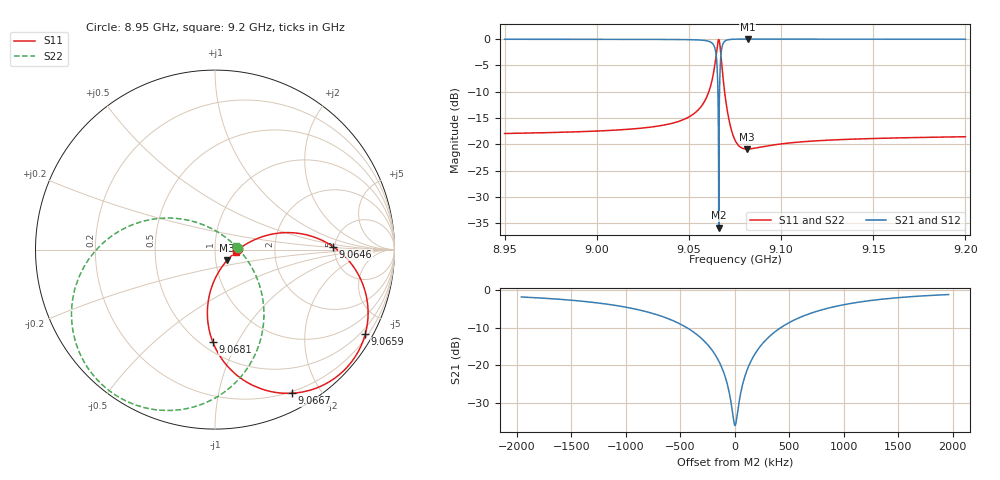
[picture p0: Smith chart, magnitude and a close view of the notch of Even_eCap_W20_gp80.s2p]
! Sonnet Data File
! From: emgraph Version : 16.52
! From Project: Resonator2_extremeCap
! Data is De-embedded
! Data File Written: 10/11/2017 17:55:29
!< HDATE 10/10/2017 20:37:37
!< MDATE 10/10/2017 20:37:37
!< PARAMS
!< Pwid1 = 2000.0
!< Pwid2 = 2000.0
!< Air_gap = 12.0
!< Width = 20.0
!< Gap = 80.0
!< END PARAMS
# GHZ S MA R 50.70000
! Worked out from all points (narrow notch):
!   1844 points, 8.95 GHz to 9.2 GHz, reference 50.7 ohm
!   highest |S21| = -0.04 dB at 9.082 GHz (marker M1); lowest = -35.8 dB at 9.0662 GHz (marker M2)
!   notch at M2: 35.8 dB deep, 329 kHz wide at half that depth
!   lowest |S11| = -20.9 dB at 9.0816 GHz (marker M3), VSWR 1.20, Z = 57.6 - j6.94 ohm
!   |S11| at or under -10 dB: start of sweep to 9.0608 GHz; 9.0693 GHz to end of sweep
!   |S22| runs from -20.9 to -0.2 dB; largest |S21 - S12| = 0
!   S11 on the Smith chart (normalised r, x): 8.95 GHz: 1.29, +0.00; 9.0646 GHz: 4.85, +0.27; 9.0659 GHz: 0.31, -3.79; 9.0667 GHz: 0.18, -1.66; 9.0681 GHz: 0.57, -0.80; 9.2 GHz: 1.26, -0.04
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8.95  0.1264 0.8  0.992 -87.9  0.992 -87.9  0.1264 3.4
!< P1 F=8.95 Eeff=(6.44622481 -2.9718e-5) Z0=(50.9069921 1.17455e-4) R=0.0 C=0.0
!< P2 F=8.95 Eeff=(6.44622481 -2.9718e-5) Z0=(50.9069921 1.17455e-4) R=0.0 C=0.0
8.9918  0.1316 1.8  0.9913 -88.7  0.9913 -88.7  0.1316 0.8
9.0334  0.1488 5.7  0.9888 -90.3  0.9888 -90.3  0.1488 -6.4
9.0584  0.254 14.9  0.9668 -97.5  0.9668 -97.5  0.2537 -30.1
9.062374  0.3933 13.8  0.9178 -106.3  0.9178 -106.3  0.3926 -47.0
9.064571  0.6592 1.4  0.745 -124.7  0.745 -124.7  0.6576 -72.1
9.065388  0.8548 -14.1  0.4997 -142.2  0.4997 -142.2  0.8525 -93.2
9.06587  0.9606 -29.4  0.2253 -156.9  0.2253 -156.9  0.9579 -112.1
9.066052  0.9812 -36.3  0.09459 -158.8  0.09459 -158.8  0.9784 -120.5
9.066173  0.9853 -41.1  0.01614 -88.4  0.01614 -88.4  0.9824 -126.3
9.066269  0.9825 -45.0  0.07447 -10.6  0.07447 -10.6  0.9796 -130.9
9.066352  0.9758 -48.3  0.1371 -8.5  0.1371 -8.5  0.9728 -134.9
9.0667  0.9083 -61.8  0.3855 -18.9  0.3855 -18.9  0.9055 -151.3
9.06741  0.6862 -81.8  0.716 -40.8  0.716 -40.8  0.6838 -177.7
9.068051  0.5162 -91.3  0.8506 -53.2  0.8506 -53.2  0.5143 166.4
9.0704  0.2317 -96.3  0.9715 -71.5  0.9715 -71.5  0.2306 134.0
9.075  0.1094 -72.3  0.9937 -80.3  0.9937 -80.3  0.1088 91.9
9.0816  0.09015 -41.5  0.9958 -83.9  0.9958 -83.9  0.08992 53.8
9.082  0.09016 -40.4  0.9958 -84.0  0.9958 -84.0  0.08995 52.3
9.1168  0.1071 -12.6  0.9942 -87.5  0.9942 -87.5  0.1071 17.5
9.1584  0.1143 -8.8  0.9934 -88.6  0.9934 -88.6  0.1143 11.6
9.2  0.1178 -7.8  0.993 -89.3  0.993 -89.3  0.1178 9.2
